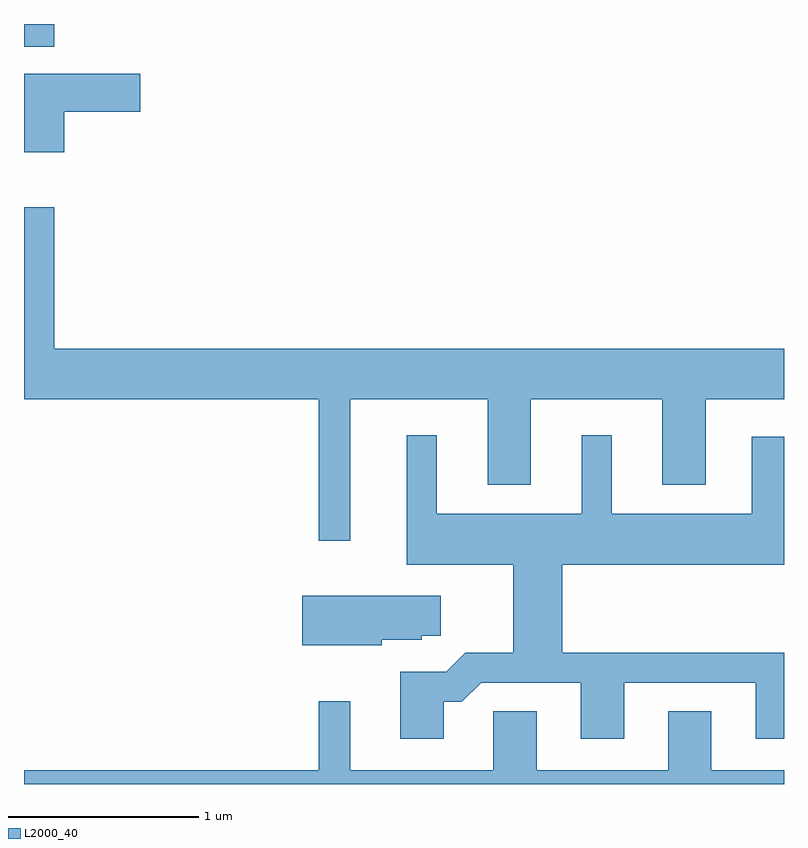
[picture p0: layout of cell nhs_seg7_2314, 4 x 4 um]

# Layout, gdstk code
import gdstk
lib = gdstk.Library(unit=1e-6, precision=1e-09)
def R(c, l, rs):  # rectangles x0, y0, x1, y1
    for r in rs: c.add(gdstk.rectangle(r[:2], r[2:], *l))
def P(c, l, *ps):  # polygons
    for p in ps: c.add(gdstk.Polygon(p, *l))
L2000_40 = (2000, 40)

nhs_seg7_2314 = lib.new_cell('nhs_seg7_2314')
R(nhs_seg7_2314, L2000_40, [(255.611,1756.133,255.769,1756.252)])
P(nhs_seg7_2314, L2000_40, [(255.824,1755.791),(256.224,1755.791),(256.224,1755.989),(255.611,1755.989),(255.611,1755.576),(255.824,1755.576)],
  [(257.329,1754.276),(258.051,1754.276),(258.051,1753.826),(258.279,1753.826),(258.279,1754.276),(258.971,1754.276),(258.971,1753.826),(259.199,1753.826),(259.199,1754.276),(259.611,1754.276),(259.611,1754.544),(255.769,1754.544),(255.769,1755.288),(255.611,1755.288),(255.611,1754.276),(257.161,1754.276),(257.161,1753.533),(257.329,1753.533)],
  [(257.819,1752.686),(257.916,1752.686),(258.017,1752.786),(258.541,1752.786),(258.541,1752.491),(258.769,1752.491),(258.769,1752.786),(259.461,1752.786),(259.461,1752.491),(259.611,1752.491),(259.611,1752.944),(258.444,1752.944),(258.444,1753.406),(259.611,1753.406),(259.611,1754.079),(259.441,1754.079),(259.441,1753.674),(258.704,1753.674),(258.704,1754.088),(258.546,1754.088),(258.546,1753.674),(257.784,1753.674),(257.784,1754.088),(257.626,1754.088),(257.626,1753.406),(258.186,1753.406),(258.186,1752.944),(257.933,1752.944),(257.834,1752.844),(257.591,1752.844),(257.591,1752.491),(257.819,1752.491)],
  [(257.494,1753.011),(257.704,1753.011),(257.704,1753.031),(257.804,1753.031),(257.804,1753.244),(257.076,1753.244),(257.076,1752.981),(257.494,1752.981)],
  [(259.611,1752.324),(259.229,1752.324),(259.229,1752.634),(259.001,1752.634),(259.001,1752.324),(258.309,1752.324),(258.309,1752.634),(258.081,1752.634),(258.081,1752.324),(257.329,1752.324),(257.329,1752.688),(257.161,1752.688),(257.161,1752.324),(255.611,1752.324),(255.611,1752.252),(259.611,1752.252)])

lib.write_gds('nhs_seg7_2314.gds')
